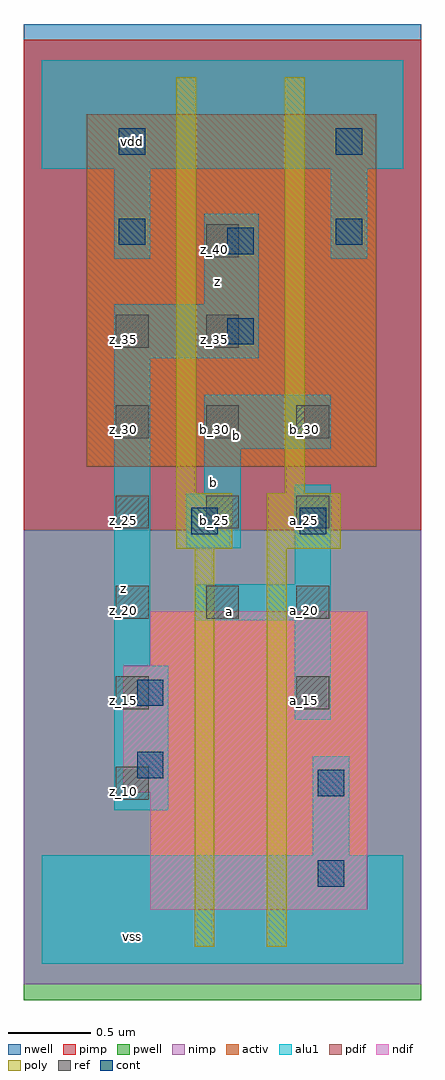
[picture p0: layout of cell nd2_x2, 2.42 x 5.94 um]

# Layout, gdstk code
import gdstk
lib = gdstk.Library(unit=1e-6, precision=2.5e-09)
def R(c, l, rs):  # rectangles x0, y0, x1, y1
    for r in rs: c.add(gdstk.rectangle(r[:2], r[2:], *l))
def A(c, l, x, y, w, h, nx, ny, dx, dy):  # array of equal rectangles
    R(c, l, [(x+i*dx, y+j*dy, x+i*dx+w, y+j*dy+h) for i in range(nx) for j in range(ny)])
ndif = (3, 0)
pdif = (4, 0)
ref = (24, 0)
cont = (25, 0)
pwell = (41, 0)
nwell = (42, 0)
activ = (43, 0)
pimp = (44, 0)
nimp = (45, 0)
poly = (46, 0)
alu1 = (49, 0)

nd2_x2 = lib.new_cell('nd2_x2')
R(nd2_x2, ndif, [(0.66,0.33,1.98,1.045), (0.495,1.045,1.98,1.815), (0.66,1.815,1.98,2.145)])
R(nd2_x2, pdif, [(0.275,3.025,2.035,5.17)])
A(nd2_x2, ref, 0.45, 2.1, 0.2, 0.2, 3, 3, 0.55, 0.55)
R(nd2_x2, ref, [(0.45,1,0.65,1.2), (0.45,1.55,0.65,1.75), (1.55,1.55,1.75,1.75), (0.45,3.75,0.65,3.95), (1,3.75,1.2,3.95), (1,4.3,1.2,4.5)])
R(nd2_x2, cont, [(1.68,0.47,1.84,0.63), (1.68,1.02,1.84,1.18), (0.58,1.13,0.74,1.29), (0.58,1.57,0.74,1.73), (0.91,2.615,1.07,2.775), (1.57,2.615,1.73,2.775), (1.13,3.77,1.29,3.93), (1.13,4.32,1.29,4.48), (0.47,4.375,0.63,4.535), (1.79,4.375,1.95,4.535), (0.47,4.925,0.63,5.085), (1.79,4.925,1.95,5.085)])
R(nd2_x2, pwell, [(-0.11,-0.22,2.31,2.64)])
R(nd2_x2, nwell, [(-0.11,2.64,2.31,5.72)])
R(nd2_x2, activ, [(0.66,0.33,1.98,1.045), (0.495,1.045,1.98,1.815), (0.66,1.815,1.98,2.145), (0.275,3.025,2.035,5.17)])
R(nd2_x2, pimp, [(-0.11,2.64,2.31,5.625)])
R(nd2_x2, nimp, [(-0.11,-0.125,2.31,2.64)])
R(nd2_x2, poly, [(0.93,0.105,1.05,2.525), (1.37,0.105,1.49,2.525), (0.82,2.525,1.16,2.865), (1.37,2.525,1.82,2.865), (0.82,2.865,0.94,5.395), (1.48,2.865,1.6,5.395)])
R(nd2_x2, alu1, [(0,0,2.2,0.66), (1.65,0.66,1.87,1.265), (0.44,0.935,0.77,1.815), (1.54,1.485,1.76,2.09), (0.44,1.815,0.66,3.685), (0.935,2.09,1.76,2.31), (1.54,2.31,1.76,2.915), (0.88,2.53,1.21,2.86), (0.99,2.86,1.21,3.135), (0.99,3.135,1.76,3.465), (0.44,3.685,1.32,4.015), (0.99,4.015,1.32,4.565), (0.44,4.29,0.66,4.84), (1.76,4.29,1.98,4.84), (0,4.84,2.2,5.5)])
nd2_x2.add(gdstk.Label('vss', (0.55,0.165), layer=49, texttype=0))
nd2_x2.add(gdstk.Label('a', (1.14,2.145), layer=49, texttype=0))
nd2_x2.add(gdstk.Label('b', (1.045,2.9275), layer=49, texttype=0))
nd2_x2.add(gdstk.Label('b', (1.1825,3.2175), layer=49, texttype=0))
nd2_x2.add(gdstk.Label('z', (0.495,2.2825), layer=49, texttype=0))
nd2_x2.add(gdstk.Label('z', (1.0725,4.1525), layer=49, texttype=0))
nd2_x2.add(gdstk.Label('vdd', (0.55,5.005), layer=49, texttype=0))
nd2_x2.add(gdstk.Label('a_25', (1.6,2.7), layer=24, texttype=0))
nd2_x2.add(gdstk.Label('b_25', (1.05,2.7), layer=24, texttype=0))
nd2_x2.add(gdstk.Label('z_35', (1.05,3.8), layer=24, texttype=0))
nd2_x2.add(gdstk.Label('z_30', (0.5,3.25), layer=24, texttype=0))
nd2_x2.add(gdstk.Label('z_25', (0.5,2.7), layer=24, texttype=0))
nd2_x2.add(gdstk.Label('z_20', (0.5,2.15), layer=24, texttype=0))
nd2_x2.add(gdstk.Label('z_40', (1.05,4.35), layer=24, texttype=0))
nd2_x2.add(gdstk.Label('b_30', (1.05,3.25), layer=24, texttype=0))
nd2_x2.add(gdstk.Label('b_30', (1.6,3.25), layer=24, texttype=0))
nd2_x2.add(gdstk.Label('a_20', (1.6,2.15), layer=24, texttype=0))
nd2_x2.add(gdstk.Label('a_20', (1.05,2.15), layer=24, texttype=0))
nd2_x2.add(gdstk.Label('z_35', (0.5,3.8), layer=24, texttype=0))
nd2_x2.add(gdstk.Label('z_15', (0.5,1.6), layer=24, texttype=0))
nd2_x2.add(gdstk.Label('z_10', (0.5,1.05), layer=24, texttype=0))
nd2_x2.add(gdstk.Label('a_15', (1.6,1.6), layer=24, texttype=0))

lib.write_gds('nd2_x2.gds')
